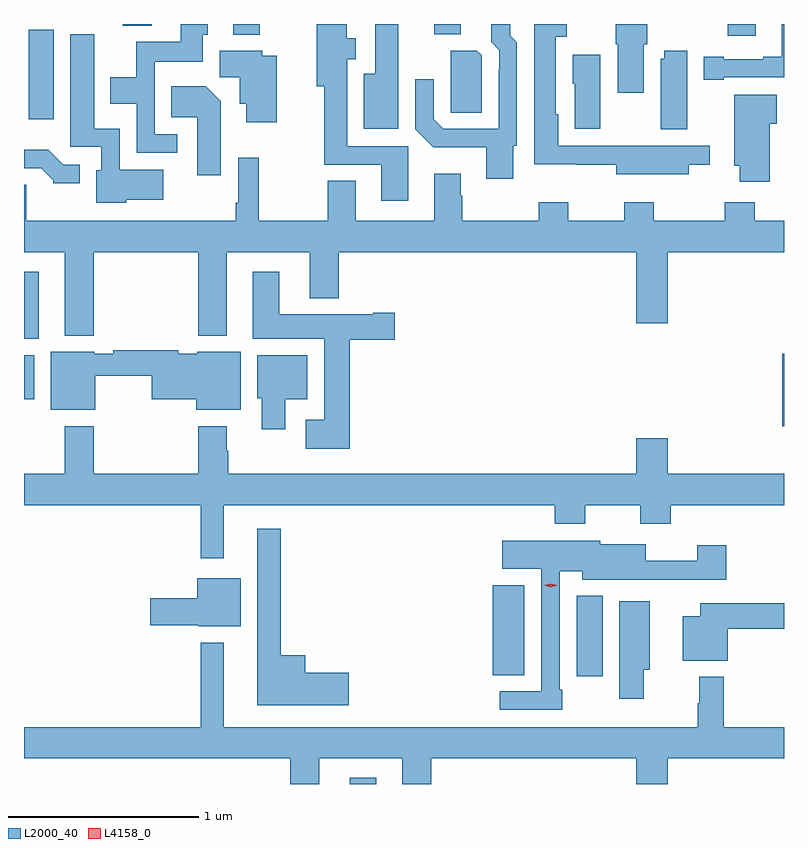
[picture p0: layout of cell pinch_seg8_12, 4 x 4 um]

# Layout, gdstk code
import gdstk
lib = gdstk.Library(unit=1e-6, precision=1e-09)
def R(c, l, rs):  # rectangles x0, y0, x1, y1
    for r in rs: c.add(gdstk.rectangle(r[:2], r[2:], *l))
def P(c, l, *ps):  # polygons
    for p in ps: c.add(gdstk.Polygon(p, *l))
L2000_40 = (2000, 40)
L4158_0 = (4158, 0)

pinch_seg8_12 = lib.new_cell('pinch_seg8_12')
R(pinch_seg8_12, L2000_40, [(1038.623,1156.324,1038.763,1156.357), (1039.817,1156.89,1039.954,1157.314), (1039.376,1156.897,1039.543,1157.371), (1040.9,1158.207,1040.909,1158.588), (1036.909,1158.35,1036.963,1158.58), (1036.909,1158.668,1036.987,1159.021), (1036.934,1159.824,1037.065,1160.293), (1040.614,1160.262,1040.761,1160.324), (1038.011,1160.267,1038.151,1160.324), (1039.067,1160.269,1039.207,1160.324), (1037.429,1160.315,1037.581,1160.324)])
P(pinch_seg8_12, L2000_40, [(1040.407,1159.582),(1040.518,1159.582),(1040.518,1159.683),(1039.72,1159.683),(1039.72,1159.848),(1039.708,1159.848),(1039.708,1160.258),(1039.765,1160.258),(1039.765,1160.324),(1039.595,1160.324),(1039.595,1159.586),(1039.816,1159.586),(1039.816,1159.582),(1040.027,1159.582),(1040.027,1159.532),(1040.407,1159.532)],
  [(1040.593,1160.043),(1040.909,1160.043),(1040.909,1160.324),(1040.897,1160.324),(1040.897,1160.152),(1040.801,1160.152),(1040.801,1160.139),(1040.593,1160.139),(1040.593,1160.152),(1040.486,1160.152),(1040.486,1160.031),(1040.593,1160.031)],
  [(1039.483,1159.683),(1039.503,1159.683),(1039.503,1160.227),(1039.467,1160.263),(1039.467,1160.324),(1039.367,1160.324),(1039.367,1160.23),(1039.41,1160.187),(1039.41,1160.087),(1039.407,1160.087),(1039.407,1159.773),(1039.116,1159.773),(1039.065,1159.824),(1039.065,1160.032),(1038.969,1160.032),(1038.969,1159.77),(1039.063,1159.676),(1039.343,1159.676),(1039.343,1159.509),(1039.483,1159.509)],
  [(1038.88,1160.324),(1038.758,1160.324),(1038.758,1160.062),(1038.698,1160.062),(1038.698,1159.772),(1038.88,1159.772)],
  [(1040.17,1160.217),(1040.19,1160.217),(1040.19,1160.324),(1040.024,1160.324),(1040.024,1160.217),(1040.033,1160.217),(1040.033,1159.962),(1040.17,1159.962)],
  [(1038.931,1159.68),(1038.61,1159.68),(1038.61,1160.139),(1038.655,1160.139),(1038.655,1160.249),(1038.607,1160.249),(1038.607,1160.324),(1038.449,1160.324),(1038.449,1159.997),(1038.488,1159.997),(1038.488,1159.584),(1038.788,1159.584),(1038.788,1159.395),(1038.931,1159.395)],
  [(1037.716,1159.743),(1037.598,1159.743),(1037.598,1160.126),(1037.851,1160.126),(1037.851,1160.268),(1037.875,1160.268),(1037.875,1160.324),(1037.735,1160.324),(1037.735,1160.23),(1037.5,1160.23),(1037.5,1160.044),(1037.363,1160.044),(1037.363,1159.904),(1037.502,1159.904),(1037.502,1159.647),(1037.716,1159.647)],
  [(1037.448,1159.4),(1037.641,1159.4),(1037.641,1159.558),(1037.412,1159.558),(1037.412,1159.774),(1037.278,1159.774),(1037.278,1160.269),(1037.153,1160.269),(1037.153,1159.677),(1037.316,1159.677),(1037.316,1159.554),(1037.288,1159.554),(1037.288,1159.382),(1037.448,1159.382)],
  [(1039.317,1160.16),(1039.293,1160.184),(1039.154,1160.184),(1039.154,1159.969),(1039.155,1159.969),(1039.155,1159.858),(1039.317,1159.858)],
  [(1040.401,1160.182),(1040.279,1160.182),(1040.279,1160.142),(1040.261,1160.142),(1040.261,1159.769),(1040.401,1159.769)],
  [(1038.238,1160.158),(1038.162,1160.158),(1038.162,1160.182),(1037.939,1160.182),(1037.939,1160.044),(1038.044,1160.044),(1038.044,1159.904),(1038.08,1159.904),(1038.08,1159.806),(1038.238,1159.806)],
  [(1039.942,1160.161),(1039.796,1160.161),(1039.796,1160.01),(1039.808,1160.01),(1039.808,1159.772),(1039.942,1159.772)],
  [(1037.944,1159.918),(1037.866,1159.996),(1037.683,1159.996),(1037.683,1159.832),(1037.822,1159.832),(1037.822,1159.527),(1037.944,1159.527)],
  [(1040.833,1159.799),(1040.872,1159.799),(1040.872,1159.951),(1040.648,1159.951),(1040.648,1159.578),(1040.675,1159.578),(1040.675,1159.494),(1040.833,1159.494)],
  [(1037.203,1159.584),(1037.115,1159.584),(1037.037,1159.663),(1036.909,1159.663),(1036.909,1159.566),(1037,1159.566),(1037.064,1159.502),(1037.064,1159.487),(1037.203,1159.487)],
  [(1036.921,1159.478),(1036.909,1159.478),(1036.909,1159.124),(1037.123,1159.124),(1037.123,1158.683),(1037.276,1158.683),(1037.276,1159.124),(1037.825,1159.124),(1037.825,1158.683),(1037.977,1158.683),(1037.977,1159.124),(1038.413,1159.124),(1038.413,1158.881),(1038.566,1158.881),(1038.566,1159.124),(1040.132,1159.124),(1040.132,1158.75),(1040.296,1158.75),(1040.296,1159.124),(1040.909,1159.124),(1040.909,1159.288),(1040.756,1159.288),(1040.756,1159.387),(1040.596,1159.387),(1040.596,1159.288),(1040.223,1159.288),(1040.223,1159.387),(1040.068,1159.387),(1040.068,1159.288),(1039.773,1159.288),(1039.773,1159.387),(1039.618,1159.387),(1039.618,1159.288),(1039.215,1159.288),(1039.215,1159.421),(1039.207,1159.421),(1039.207,1159.537),(1039.067,1159.537),(1039.067,1159.288),(1038.655,1159.288),(1038.655,1159.499),(1038.507,1159.499),(1038.507,1159.288),(1038.145,1159.288),(1038.145,1159.621),(1038.036,1159.621),(1038.036,1159.384),(1038.024,1159.384),(1038.024,1159.288),(1036.921,1159.288)],
  [(1038.623,1158.662),(1038.859,1158.662),(1038.859,1158.804),(1038.746,1158.804),(1038.746,1158.796),(1038.253,1158.796),(1038.253,1159.021),(1038.113,1159.021),(1038.113,1158.668),(1038.488,1158.668),(1038.488,1158.241),(1038.393,1158.241),(1038.393,1158.089),(1038.623,1158.089)],
  [(1037.284,1158.472),(1037.582,1158.472),(1037.582,1158.35),(1037.816,1158.35),(1037.816,1158.293),(1038.049,1158.293),(1038.049,1158.598),(1037.82,1158.598),(1037.82,1158.589),(1037.72,1158.589),(1037.72,1158.608),(1037.38,1158.608),(1037.38,1158.588),(1037.28,1158.588),(1037.28,1158.598),(1037.051,1158.598),(1037.051,1158.293),(1037.284,1158.293)],
  [(1038.283,1158.35),(1038.4,1158.35),(1038.4,1158.58),(1038.137,1158.58),(1038.137,1158.354),(1038.161,1158.354),(1038.161,1158.192),(1038.283,1158.192)],
  [(1037.959,1157.792),(1039.703,1157.792),(1039.703,1157.693),(1039.863,1157.693),(1039.863,1157.792),(1040.152,1157.792),(1040.152,1157.693),(1040.312,1157.693),(1040.312,1157.792),(1040.909,1157.792),(1040.909,1157.956),(1040.296,1157.956),(1040.296,1158.145),(1040.132,1158.145),(1040.132,1157.956),(1037.985,1157.956),(1037.985,1158.077),(1037.977,1158.077),(1037.977,1158.208),(1037.825,1158.208),(1037.825,1157.956),(1037.276,1157.956),(1037.276,1158.208),(1037.123,1158.208),(1037.123,1157.956),(1036.909,1157.956),(1036.909,1157.792),(1037.838,1157.792),(1037.838,1157.511),(1037.959,1157.511)],
  [(1038.619,1156.91),(1038.388,1156.91),(1038.388,1157.002),(1038.259,1157.002),(1038.259,1157.668),(1038.137,1157.668),(1038.137,1156.739),(1038.619,1156.739)],
  [(1039.741,1156.819),(1039.728,1156.819),(1039.728,1157.444),(1039.847,1157.444),(1039.847,1157.399),(1040.606,1157.399),(1040.606,1157.581),(1040.453,1157.581),(1040.453,1157.498),(1040.182,1157.498),(1040.182,1157.587),(1039.941,1157.587),(1039.941,1157.605),(1039.425,1157.605),(1039.425,1157.456),(1039.632,1157.456),(1039.632,1156.812),(1039.413,1156.812),(1039.413,1156.716),(1039.741,1156.716)],
  [(1038.049,1157.407),(1037.822,1157.407),(1037.822,1157.301),(1037.574,1157.301),(1037.574,1157.159),(1037.826,1157.159),(1037.826,1157.153),(1038.049,1157.153)],
  [(1040.172,1156.925),(1040.203,1156.925),(1040.203,1157.287),(1040.042,1157.287),(1040.042,1156.773),(1040.172,1156.773)],
  [(1040.614,1157.14),(1040.909,1157.14),(1040.909,1157.276),(1040.468,1157.276),(1040.468,1157.206),(1040.375,1157.206),(1040.375,1156.973),(1040.614,1156.973)],
  [(1038.463,1156.46),(1038.899,1156.46),(1038.899,1156.324),(1039.052,1156.324),(1039.052,1156.46),(1040.132,1156.46),(1040.132,1156.324),(1040.296,1156.324),(1040.296,1156.46),(1040.909,1156.46),(1040.909,1156.624),(1040.591,1156.624),(1040.591,1156.888),(1040.463,1156.888),(1040.463,1156.748),(1040.455,1156.748),(1040.455,1156.624),(1037.959,1156.624),(1037.959,1157.068),(1037.838,1157.068),(1037.838,1156.624),(1036.909,1156.624),(1036.909,1156.46),(1038.311,1156.46),(1038.311,1156.324),(1038.463,1156.324)])
P(pinch_seg8_12, L4158_0, [(1039.681,1157.359),(1039.646,1157.369),(1039.646,1157.369),(1039.646,1157.37),(1039.681,1157.379),(1039.716,1157.37),(1039.716,1157.369),(1039.716,1157.369)])

lib.write_gds('pinch_seg8_12.gds')
